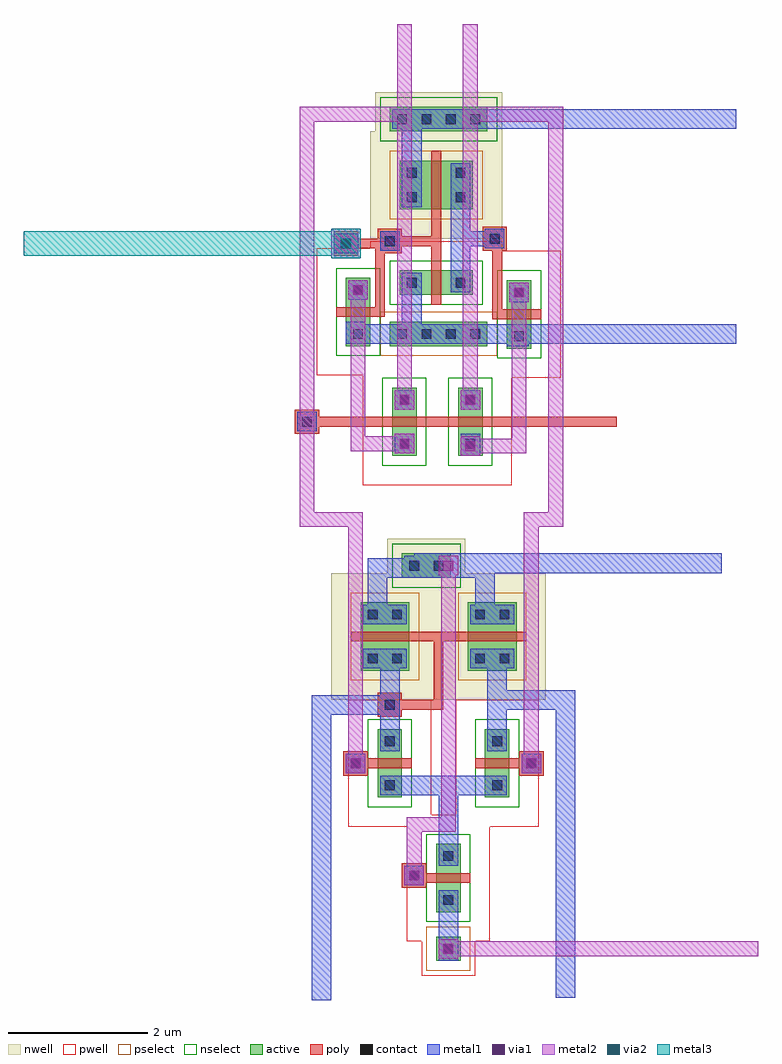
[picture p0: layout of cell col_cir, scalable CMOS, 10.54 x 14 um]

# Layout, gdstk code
import gdstk
lib = gdstk.Library(unit=1e-6, precision=1e-09)
def R(c, l, rs):  # rectangles x0, y0, x1, y1
    for r in rs: c.add(gdstk.rectangle(r[:2], r[2:], *l))
def A(c, l, x, y, w, h, nx, ny, dx, dy):  # array of equal rectangles
    R(c, l, [(x+i*dx, y+j*dy, x+i*dx+w, y+j*dy+h) for i in range(nx) for j in range(ny)])
contact = (25, 0)
pwell = (41, 0)
nwell = (42, 0)
active = (43, 0)
pselect = (44, 0)
nselect = (45, 0)
poly = (46, 0)
metal1 = (49, 0)
via1 = (50, 0)
metal2 = (51, 0)
via2 = (61, 0)
metal3 = (62, 0)

sense_amp = lib.new_cell('sense_amp')
R(sense_amp, contact, [(0.07,-4.235,0.21,-4.095), (0.07,-3.535,0.21,-3.395), (-0.42,-3.185,-0.28,-3.045), (0.07,-2.905,0.21,-2.765), (-0.77,-1.89,-0.63,-1.75), (0.77,-1.89,0.91,-1.75), (-1.26,-1.575,-1.12,-1.435), (1.26,-1.575,1.4,-1.435), (-0.77,-1.26,-0.63,-1.12), (0.77,-1.26,0.91,-1.12), (-0.77,-0.735,-0.63,-0.595), (-1.015,-0.07,-0.875,0.07), (-0.665,-0.07,-0.525,0.07), (0.525,-0.07,0.665,0.07), (0.875,-0.07,1.015,0.07), (-1.015,0.56,-0.875,0.7), (-0.665,0.56,-0.525,0.7), (0.525,0.56,0.665,0.7), (0.875,0.56,1.015,0.7), (-0.42,1.26,-0.28,1.4), (-0.07,1.26,0.07,1.4)])
R(sense_amp, pwell, [(-0.245,-4.55,0.525,-3.78), (-0.455,-4.06,0.735,-2.87), (-0.385,-3.99,0.665,-2.887), (-0.455,-3.85,0.735,-2.45), (-0.455,-3.43,0.735,-2.24), (-0.385,-3.412,0.665,-2.31), (-1.295,-2.415,-0.105,-1.225), (0.245,-2.415,1.435,-1.225), (-1.225,-2.31,-0.175,-1.242), (0.315,-2.31,1.365,-1.242), (-1.295,-2.205,-0.105,-0.805), (0.245,-2.205,1.435,-0.805), (-1.295,-1.785,-0.105,-0.595), (0.245,-1.785,1.435,-0.595), (-1.225,-1.767,-0.175,-0.665), (0.315,-1.767,1.365,-0.665)])
R(sense_amp, nwell, [(-1.54,-0.595,0,0.595), (0,-0.595,1.54,0.595), (-1.295,-0.525,-0.245,0.578), (0.245,-0.525,1.295,0.578), (-1.54,-0.385,0,1.015), (0,-0.385,1.54,1.015), (-1.54,0.035,0,1.225), (0,0.035,1.54,1.225), (-1.295,0.053,-0.245,1.155), (0.245,0.053,1.295,1.155), (-0.735,0.945,0.385,1.715)])
R(sense_amp, active, [(-0.035,-4.34,0.315,-3.99), (-0.035,-3.64,0.315,-3.29), (0.035,-3.57,0.245,-3.307), (-0.035,-3.43,0.315,-2.87), (-0.035,-3.01,0.315,-2.66), (0.035,-2.992,0.245,-2.73), (-0.875,-1.995,-0.525,-1.645), (0.665,-1.995,1.015,-1.645), (-0.805,-1.89,-0.595,-1.662), (0.735,-1.89,0.945,-1.662), (-0.875,-1.785,-0.525,-1.225), (0.665,-1.785,1.015,-1.225), (-0.875,-1.365,-0.525,-1.015), (0.665,-1.365,1.015,-1.015), (-0.805,-1.347,-0.595,-1.085), (0.735,-1.347,0.945,-1.085), (-1.12,-0.175,-0.42,0.175), (0.42,-0.175,1.12,0.175), (-0.875,-0.105,-0.665,0.158), (0.665,-0.105,0.875,0.158), (-1.12,0.035,-0.42,0.595), (0.42,0.035,1.12,0.595), (-1.12,0.455,-0.42,0.805), (0.42,0.455,1.12,0.805), (-0.875,0.473,-0.665,0.735), (0.665,0.473,0.875,0.735), (-0.525,1.155,0.175,1.505)])
R(sense_amp, pselect, [(-0.175,-4.48,0.455,-3.85), (-1.26,-0.315,-0.28,0.315), (0.28,-0.315,1.26,0.315), (-1.015,-0.245,-0.525,0.298), (0.525,-0.245,1.015,0.298), (-1.26,-0.105,-0.28,0.735), (0.28,-0.105,1.26,0.735), (-1.26,0.315,-0.28,0.945), (0.28,0.315,1.26,0.945), (-1.015,0.333,-0.525,0.875), (0.525,0.333,1.015,0.875)])
R(sense_amp, nselect, [(-0.175,-3.78,0.455,-3.15), (-0.105,-3.71,0.385,-3.167), (-0.175,-3.57,0.455,-2.73), (-0.175,-3.15,0.455,-2.52), (-0.105,-3.132,0.385,-2.59), (-1.015,-2.135,-0.385,-1.505), (0.525,-2.135,1.155,-1.505), (-0.945,-2.03,-0.455,-1.522), (0.595,-2.03,1.085,-1.522), (-1.015,-1.925,-0.385,-1.085), (0.525,-1.925,1.155,-1.085), (-1.015,-1.505,-0.385,-0.875), (0.525,-1.505,1.155,-0.875), (-0.945,-1.487,-0.455,-0.945), (0.595,-1.487,1.085,-0.945), (-0.665,1.015,0.315,1.645)])
R(sense_amp, poly, [(-0.525,-3.29,-0.175,-2.94), (-0.385,-3.22,-0.105,-3.08), (-0.175,-3.22,0.455,-3.08), (-1.365,-1.68,-1.015,-1.33), (1.155,-1.68,1.505,-1.33), (-1.26,-1.575,-0.945,-1.435), (-1.015,-1.575,-0.385,-1.435), (0.525,-1.575,1.155,-1.435), (1.085,-1.575,1.4,-1.435), (-0.875,-0.84,-0.525,-0.49), (-0.77,-0.735,0.07,-0.595), (-0.07,-0.735,0.07,0.385), (-1.26,0.245,-0.28,0.385), (-0.35,0.245,0.07,0.385), (-0.07,0.245,0.35,0.385), (0.28,0.245,1.26,0.385)])
R(sense_amp, metal1, [(-1.82,-4.9,-1.54,-0.525), (1.68,-4.865,1.96,-0.455), (0,-4.34,0.28,-3.325), (0,-4.305,0.28,-4.025), (0,-3.605,0.28,-3.325), (-0.49,-3.255,-0.21,-2.975), (-0.49,-3.255,-0.21,-2.975), (-0.42,-3.22,-0.21,-2.975), (0,-2.975,0.28,-2.695), (0,-2.975,0.28,-1.68), (-0.84,-1.96,-0.56,-1.68), (-0.84,-1.96,0.28,-1.68), (0,-1.96,0.98,-1.68), (0.7,-1.96,0.98,-1.68), (-1.33,-1.645,-1.05,-1.365), (-1.33,-1.645,-1.05,-1.365), (1.19,-1.645,1.47,-1.365), (1.19,-1.645,1.47,-1.365), (-1.295,-1.61,-1.085,-1.4), (1.225,-1.61,1.435,-1.4), (-0.84,-1.33,-0.56,-1.05), (-0.84,-1.33,-0.56,-0.525), (0.7,-1.33,0.98,-1.05), (0.7,-1.33,0.98,-0.455), (-1.82,-0.805,-0.56,-0.525), (-0.84,-0.805,-0.56,-0.525), (-0.84,-0.805,-0.56,0.14), (0.7,-0.735,0.98,0.14), (0.7,-0.735,1.96,-0.455), (-1.085,-0.14,-0.455,0.14), (0.455,-0.14,1.085,0.14), (-1.085,0.49,-0.455,0.77), (-1.015,0.49,-0.735,1.435), (0.455,0.49,1.085,0.77), (0.525,0.49,0.805,1.435), (-1.015,1.155,-0.105,1.435), (-0.385,1.155,0.805,1.435), (-0.49,1.19,0.14,1.47), (-0.315,1.19,0.28,1.47), (0,1.19,0.28,1.47)])
R(sense_amp, via1, [(-0.42,-3.185,-0.28,-3.045), (-1.26,-1.575,-1.12,-1.435), (1.26,-1.575,1.4,-1.435), (0.07,1.26,0.21,1.4)])
R(sense_amp, metal2, [(-0.49,-3.255,-0.21,-2.975), (-0.455,-3.22,-0.245,-2.275), (-0.35,-2.485,-0.14,-2.275), (-0.35,-2.485,0.245,-2.275), (0.035,-2.485,0.245,1.435), (-1.33,-1.645,-1.05,-1.365), (1.19,-1.645,1.47,-1.365), (-1.295,-1.61,-1.085,1.68), (1.225,-1.61,1.435,1.68), (-1.26,-1.575,-1.12,1.645), (0,1.19,0.28,1.47), (-1.295,1.47,-1.085,1.68), (-1.295,1.47,-1.085,2.1), (1.225,1.47,1.435,1.68), (1.225,1.47,1.435,2.1)])

inv = lib.new_cell('inv')
A(inv, contact, -1.47, -1.995, 0.14, 0.14, 4, 2, 0.35, 3.08)
R(inv, contact, [(-1.33,-1.26,-1.19,-1.12), (-0.63,-1.26,-0.49,-1.12), (-1.645,-0.665,-1.505,-0.525), (-1.33,-0.035,-1.19,0.105), (-0.63,-0.035,-0.49,0.105), (-1.33,0.315,-1.19,0.455), (-0.63,0.315,-0.49,0.455)])
R(inv, pwell, [(-1.785,-2.31,0.035,-1.54), (-1.855,-1.785,-0.665,-0.595), (-1.61,-1.785,-0.21,-0.595), (-1.155,-1.785,0.035,-0.595), (-1.785,-1.715,-0.647,-0.665), (-1.172,-1.715,-0.035,-0.665)])
R(inv, nwell, [(-1.855,-0.56,-0.665,0.98), (-1.61,-0.56,-0.21,0.98), (-1.155,-0.56,0.035,0.98), (-1.785,-0.21,-0.647,0.84), (-1.172,-0.21,-0.035,0.84), (-1.785,0.77,0.035,1.54)])
R(inv, active, [(-1.575,-2.1,-0.175,-1.75), (-1.435,-1.365,-1.085,-1.015), (-1.19,-1.365,-0.63,-1.015), (-0.735,-1.365,-0.385,-1.015), (-1.365,-1.295,-1.067,-1.085), (-0.752,-1.295,-0.455,-1.085), (-1.435,-0.14,-1.085,0.56), (-1.19,-0.14,-0.63,0.56), (-0.735,-0.14,-0.385,0.56), (-1.365,0.21,-1.067,0.42), (-0.752,0.21,-0.455,0.42), (-1.575,0.98,-0.175,1.33)])
R(inv, pselect, [(-1.715,-2.24,-0.035,-1.61), (-1.575,-0.28,-0.945,0.7), (-1.33,-0.28,-0.49,0.7), (-0.875,-0.28,-0.245,0.7), (-1.505,0.07,-0.927,0.56), (-0.892,0.07,-0.315,0.56)])
R(inv, nselect, [(-1.575,-1.505,-0.945,-0.875), (-1.33,-1.505,-0.49,-0.875), (-0.875,-1.505,-0.245,-0.875), (-1.505,-1.435,-0.927,-0.945), (-0.892,-1.435,-0.315,-0.945), (-1.715,0.84,-0.035,1.47)])
R(inv, poly, [(-0.98,-1.505,-0.84,-0.875), (-0.98,-0.945,-0.84,-0.525), (-1.75,-0.77,-1.4,-0.42), (-1.645,-0.665,-0.84,-0.525), (-0.98,-0.665,-0.84,-0.21), (-0.98,-0.28,-0.84,0.7)])
R(inv, metal1, [(-1.54,-2.065,-0.21,-1.785), (-1.4,-2.065,-1.12,-1.05), (-1.4,-1.33,-1.12,-1.05), (-0.7,-1.33,-0.42,-1.05), (-0.7,-1.33,-0.42,-0.42), (-1.715,-0.735,-1.435,-0.455), (-0.7,-0.7,-0.42,0.455), (-0.665,-0.665,0.035,-0.455), (-1.4,-0.105,-1.12,0.525), (-0.7,-0.105,-0.42,0.525), (-1.4,0.07,-1.12,1.295), (-1.54,1.015,-0.21,1.295)])

write_drive = lib.new_cell('write_drive')
R(write_drive, contact, [(-0.84,-3.57,-0.7,-3.43), (0.105,-3.57,0.245,-3.43), (-2.24,-3.255,-2.1,-3.115), (-0.84,-2.94,-0.7,-2.8), (0.105,-2.94,0.245,-2.8), (0.805,-2.03,0.945,-1.89), (-1.505,-1.995,-1.365,-1.855), (0.805,-1.4,0.945,-1.26), (-1.505,-1.365,-1.365,-1.225), (-1.68,-0.7,-1.54,-0.56), (0.455,-0.63,0.595,-0.49)])
R(write_drive, pwell, [(-1.365,-4.095,-0.175,-2.905), (-0.42,-4.095,0.77,-2.905), (-1.295,-4.025,-0.245,-2.922), (-0.35,-4.025,0.7,-2.922), (-1.365,-3.885,-0.175,-2.485), (-0.42,-3.885,0.77,-2.485), (-1.365,-3.465,-0.175,-2.275), (-0.42,-3.465,0.77,-2.275), (-1.295,-3.447,-0.245,-2.345), (-0.35,-3.447,0.7,-2.345), (0.28,-2.555,1.47,-1.365), (-2.03,-2.52,-0.84,-1.33), (0.315,-2.485,1.365,-1.382), (-1.96,-2.45,-0.91,-1.347), (0.28,-2.345,1.47,-0.945), (-2.03,-2.31,-0.84,-0.91), (0.28,-1.925,1.47,-0.735), (0.315,-1.907,1.365,-0.805), (-2.03,-1.89,-0.84,-0.7), (-1.96,-1.872,-0.91,-0.77)])
R(write_drive, active, [(-0.945,-3.675,-0.595,-3.325), (0,-3.675,0.35,-3.325), (-0.875,-3.605,-0.665,-3.342), (0.07,-3.605,0.28,-3.342), (-0.945,-3.465,-0.595,-2.905), (0,-3.465,0.35,-2.905), (-0.945,-3.045,-0.595,-2.695), (0,-3.045,0.35,-2.695), (-0.875,-3.027,-0.665,-2.765), (0.07,-3.027,0.28,-2.765), (0.7,-2.135,1.05,-1.785), (-1.61,-2.1,-1.26,-1.75), (0.735,-2.065,0.945,-1.802), (-1.54,-2.03,-1.33,-1.767), (0.7,-1.925,1.05,-1.365), (-1.61,-1.89,-1.26,-1.33), (0.7,-1.505,1.05,-1.155), (0.735,-1.487,0.945,-1.225), (-1.61,-1.47,-1.26,-1.12), (-1.54,-1.452,-1.33,-1.19)])
R(write_drive, nselect, [(-1.085,-3.815,-0.455,-3.185), (-0.14,-3.815,0.49,-3.185), (-1.015,-3.745,-0.525,-3.202), (-0.07,-3.745,0.42,-3.202), (-1.085,-3.605,-0.455,-2.765), (-0.14,-3.605,0.49,-2.765), (-1.085,-3.185,-0.455,-2.555), (-0.14,-3.185,0.49,-2.555), (-1.015,-3.167,-0.525,-2.625), (-0.07,-3.167,0.42,-2.625), (0.56,-2.275,1.19,-1.645), (-1.75,-2.24,-1.12,-1.61), (0.595,-2.205,1.085,-1.662), (-1.68,-2.17,-1.19,-1.627), (0.56,-2.065,1.19,-1.225), (-1.75,-2.03,-1.12,-1.19), (0.56,-1.645,1.19,-1.015), (0.595,-1.627,1.085,-1.085), (-1.75,-1.61,-1.12,-0.98), (-1.68,-1.592,-1.19,-1.05)])
R(write_drive, poly, [(-2.345,-3.36,-1.995,-3.01), (-2.24,-3.255,-1.015,-3.115), (-1.085,-3.255,-0.455,-3.115), (-0.525,-3.255,-0.07,-3.115), (-0.14,-3.255,0.49,-3.115), (0.42,-3.255,2.275,-3.115), (0.49,-1.715,0.63,-0.49), (0.56,-1.715,1.19,-1.575), (-1.75,-1.68,-1.12,-1.54), (-1.19,-1.68,-1.05,-0.56), (-1.785,-0.805,-1.435,-0.455), (0.35,-0.735,0.7,-0.385), (-1.68,-0.7,-1.05,-0.56), (-1.19,-0.7,-0.91,-0.56)])
R(write_drive, metal1, [(0.035,-3.675,0.315,-3.395), (0.035,-3.675,0.315,-3.36), (-0.91,-3.64,-0.63,-3.36), (-0.91,-3.64,-0.63,-3.36), (0.035,-3.64,0.315,-3.36), (-0.875,-3.605,-0.665,-3.395), (-2.31,-3.325,-2.03,-3.045), (-0.91,-3.01,-0.63,-2.73), (-0.91,-3.01,-0.63,-2.73), (0.035,-3.01,0.315,-2.73), (0.035,-3.01,0.315,-2.73), (-0.875,-2.975,-0.665,-2.765), (0.07,-2.975,0.28,-2.765), (0.7,-2.1,0.98,-1.785), (0.735,-2.1,1.015,-1.82), (-1.61,-2.065,-1.33,-1.75), (-1.61,-2.065,-0.14,-1.785), (-1.575,-2.065,-1.295,-1.785), (-0.42,-2.065,0.98,-1.785), (0.735,-1.47,1.015,-1.19), (0.735,-1.47,1.015,-1.19), (-1.575,-1.435,-1.295,-1.155), (-1.575,-1.435,-1.295,-1.155), (0.77,-1.435,0.98,-1.225), (-1.54,-1.4,-1.33,-1.19), (-1.785,-0.77,-1.435,-0.49), (-1.75,-0.77,-1.47,-0.49), (-1.75,-0.77,-1.47,-0.49), (-1.715,-0.735,-1.505,-0.525), (-1.715,-0.735,-1.505,-0.525), (0.385,-0.7,0.665,-0.42), (0.42,-0.665,0.63,-0.455)])
R(write_drive, via1, [(0.105,-3.605,0.245,-3.465), (-0.84,-3.57,-0.7,-3.43), (-0.84,-2.94,-0.7,-2.8), (0.105,-2.94,0.245,-2.8), (0.805,-1.4,0.945,-1.26), (-1.505,-1.365,-1.365,-1.225), (-1.68,-0.7,-1.54,-0.56), (-1.68,-0.7,-1.54,-0.56)])
R(write_drive, metal2, [(0.035,-3.675,0.315,-3.395), (-0.91,-3.64,-0.63,-3.36), (0.07,-3.64,0.98,-3.43), (0.77,-3.64,0.98,-2.52), (-1.54,-3.605,-1.33,-3.395), (-1.54,-3.605,-1.33,-1.19), (-1.54,-3.605,-0.665,-3.395), (-0.91,-3.01,-0.63,-2.73), (0.035,-3.01,0.315,-2.73), (-0.875,-2.975,-0.665,2.17), (0.07,-2.975,0.28,1.61), (0.77,-2.73,0.98,-2.52), (0.77,-2.73,0.98,-1.225), (0.735,-1.47,1.015,-1.19), (-1.575,-1.435,-1.295,-1.155), (-1.82,-0.84,-1.4,-0.42), (-1.82,-0.84,-1.4,-0.42), (-1.785,-0.77,-1.435,-0.49), (-1.75,-0.77,-1.47,-0.49), (-1.715,-0.735,-1.505,-0.525), (-1.715,-0.735,-1.505,-0.525), (0.07,1.4,0.28,1.61), (0.07,1.4,0.28,2.52), (-0.875,1.96,-0.665,2.17), (-0.875,1.96,-0.665,2.52)])
R(write_drive, via2, [(-1.68,-0.7,-1.54,-0.56), (-1.68,-0.7,-1.54,-0.56)])
R(write_drive, metal3, [(-1.82,-0.84,-1.4,-0.42), (-1.82,-0.84,-1.4,-0.42), (-6.23,-0.805,-1.435,-0.455), (-6.16,-0.735,-5.95,-0.525)])
write_drive.add(gdstk.Reference(inv, (0.595,0)))

col_cir = lib.new_cell('col_cir')
R(col_cir, metal1, [(2.38,-9.87,2.66,-9.59), (2.415,-9.835,2.625,-9.625), (2.03,-4.34,6.44,-4.06), (2.24,-1.05,6.65,-0.77), (2.24,2.03,6.65,2.31)])
R(col_cir, via1, [(2.45,-9.8,2.59,-9.66)])
R(col_cir, metal2, [(2.38,-9.87,2.66,-9.59), (2.415,-9.835,4.655,-9.625), (4.445,-9.835,4.655,-9.625), (4.445,-9.835,6.405,-9.625), (6.195,-9.835,6.965,-9.625), (0.385,-3.675,1.295,-3.465), (0.385,-3.675,0.595,2.345), (3.605,-3.675,4.165,-3.465), (3.955,-3.675,4.165,2.345), (0.385,2.135,1.995,2.345), (1.785,2.135,1.995,3.535), (2.73,2.135,2.94,3.535), (2.73,2.135,4.165,2.345)])
col_cir.add(gdstk.Reference(sense_amp, (2.38,-5.565)))
col_cir.add(gdstk.Reference(write_drive, (2.66,1.015)))

lib.write_gds('col_cir.gds')
